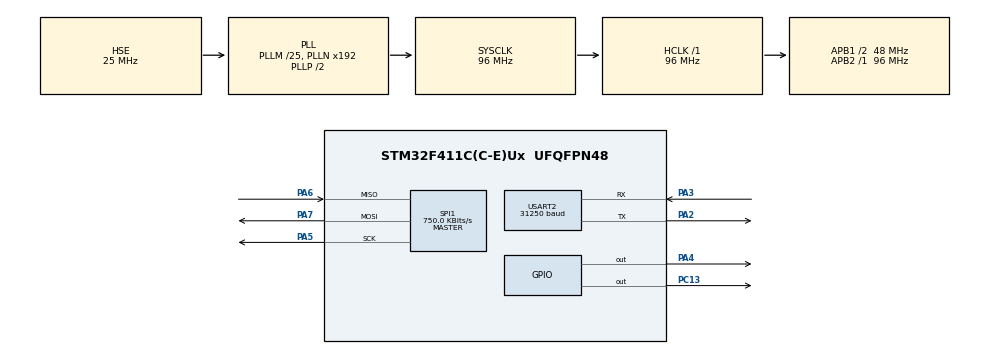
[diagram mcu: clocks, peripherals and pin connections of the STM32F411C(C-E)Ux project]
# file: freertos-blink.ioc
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Dma.Request0=SPI1_TX
Dma.SPI1_TX.0.Direction=DMA_MEMORY_TO_PERIPH
Dma.SPI1_TX.0.FIFOMode=DMA_FIFOMODE_DISABLE
Dma.SPI1_TX.0.Instance=DMA2_Stream2
Dma.SPI1_TX.0.MemDataAlignment=DMA_MDATAALIGN_BYTE
Dma.SPI1_TX.0.MemInc=DMA_MINC_ENABLE
Dma.SPI1_TX.0.Mode=DMA_NORMAL
Dma.SPI1_TX.0.PeriphDataAlignment=DMA_PDATAALIGN_BYTE
Dma.SPI1_TX.0.PeriphInc=DMA_PINC_DISABLE
Dma.SPI1_TX.0.Priority=DMA_PRIORITY_LOW
FREERTOS.Queues01=midi_queue,32,uint8_t,0,Static,midi_queueBuffer,midi_queueControlBlock;to_send_queue,16,uint32_t,0,Static,to_send_queueBuffer,to_send_queueControlBlock
FREERTOS.Tasks01=blink01,24,128,start_blink_01,Default,NULL,Dynamic,NULL,NULL;transmit_spi,8,128,transmit_spi_01,Default,NULL,Dynamic,NULL,NULL;process_midi,8,128,process_midi_from_queue,Default,NULL,Dynamic,NULL,NULL
FREERTOS.configENABLE_FPU=1
Mcu.Family=STM32F4
Mcu.Name=STM32F411C(C-E)Ux
Mcu.Package=UFQFPN48
NVIC.DMA2_Stream2_IRQn=true\:5\:0\:false\:false\:true\:true\:false\:true\:true
NVIC.PriorityGroup=NVIC_PRIORITYGROUP_4
NVIC.SPI1_IRQn=true\:5\:0\:false\:false\:true\:true\:true\:true\:true
NVIC.TIM1_TRG_COM_TIM11_IRQn=true\:15\:0\:false\:false\:true\:false\:false\:true\:true
NVIC.TimeBase=TIM1_TRG_COM_TIM11_IRQn
NVIC.TimeBaseIP=TIM11
NVIC.USART2_IRQn=true\:5\:0\:false\:false\:true\:true\:true\:true\:true
PA13.Mode=Serial_Wire
PA13.Signal=SYS_JTMS-SWDIO
PA14.Mode=Serial_Wire
PA14.Signal=SYS_JTCK-SWCLK
PA2.Mode=Asynchronous
PA2.Signal=USART2_TX
PA3.Mode=Asynchronous
PA3.Signal=USART2_RX
PA4.Signal=GPIO_Output
PA5.Mode=Full_Duplex_Master
PA5.Signal=SPI1_SCK
PA6.Mode=Full_Duplex_Master
PA6.Signal=SPI1_MISO
PA7.Mode=Full_Duplex_Master
PA7.Signal=SPI1_MOSI
PC13-ANTI_TAMP.Signal=GPIO_Output
PH0\ -\ OSC_IN.Mode=HSE-External-Oscillator
PH0\ -\ OSC_IN.Signal=RCC_OSC_IN
PH1\ -\ OSC_OUT.Mode=HSE-External-Oscillator
PH1\ -\ OSC_OUT.Signal=RCC_OSC_OUT
ProjectManager.HeapSize=0x200
ProjectManager.StackSize=0x400
ProjectManager.TargetToolchain=Makefile
RCC.48MHZClocksFreq_Value=48000000
RCC.AHBFreq_Value=96000000
RCC.APB1CLKDivider=RCC_HCLK_DIV2
RCC.APB1Freq_Value=48000000
RCC.APB1TimFreq_Value=96000000
RCC.APB2Freq_Value=96000000
RCC.APB2TimFreq_Value=96000000
RCC.CortexFreq_Value=96000000
RCC.HCLKFreq_Value=96000000
RCC.HSE_VALUE=25000000
RCC.HSI_VALUE=16000000
RCC.LSE_VALUE=32768
RCC.PLLM=25
RCC.PLLSourceVirtual=RCC_PLLSOURCE_HSE
RCC.SYSCLKFreq_VALUE=96000000
RCC.SYSCLKSource=RCC_SYSCLKSOURCE_PLLCLK
RCC.VCOOutputFreq_Value=192000000
SPI1.BaudRatePrescaler=SPI_BAUDRATEPRESCALER_128
SPI1.CalculateBaudRate=750.0 KBits/s
SPI1.Direction=SPI_DIRECTION_2LINES
SPI1.Mode=SPI_MODE_MASTER
SPI1.VirtualType=VM_MASTER
USART2.BaudRate=31250
USART2.Mode=MODE_RX
USART2.VirtualMode=VM_ASYNC
VP_FREERTOS_VS_CMSIS_V2.Mode=CMSIS_V2
VP_SYS_VS_tim11.Mode=TIM11
board=custom

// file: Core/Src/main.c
/* USER CODE BEGIN Header */
/**
  ******************************************************************************
  * @file           : main.c
  * @brief          : Main program body
  ******************************************************************************
  * @attention
  *
  * Copyright (c) 2026 STMicroelectronics.
  * All rights reserved.
  *
  * This software is licensed under terms that can be found in the LICENSE file
  * in the root directory of this software component.
  * If no LICENSE file comes with this software, it is provided AS-IS.
  *
  ******************************************************************************
  */
/* USER CODE END Header */
#include "main.h"
#include "cmsis_os.h"
#include "dma.h"
#include "spi.h"
#include "usart.h"
#include "gpio.h"

/* USER CODE BEGIN PV */
  uint8_t rx_buffer;
/* USER CODE END PV */

void SystemClock_Config(void);
void MX_FREERTOS_Init(void);

int main(void)
{

  /* MCU Configuration--------------------------------------------------------*/

  /* Reset of all peripherals, Initializes the Flash interface and the Systick. */
  HAL_Init();

  /* Configure the system clock */
  SystemClock_Config();

  /* Initialize all configured peripherals */
  MX_GPIO_Init();
  MX_DMA_Init();
  MX_USART2_UART_Init();
  MX_SPI1_Init();
  /* USER CODE BEGIN 2 */
  /* start receiving interrupts */
  HAL_UART_Receive_IT (&huart2, &rx_buffer, 1);

  /* USER CODE END 2 */

  /* Init scheduler */
  osKernelInitialize();  /* Call init function for freertos objects (in cmsis_os2.c) */
  MX_FREERTOS_Init();

  /* Start scheduler */
  osKernelStart();

  /* We should never get here as control is now taken by the scheduler */

  /* Infinite loop */
  while (1)
  {

  }
}

void SystemClock_Config(void)
{
  RCC_OscInitTypeDef RCC_OscInitStruct = {0};
  RCC_ClkInitTypeDef RCC_ClkInitStruct = {0};

  /** Configure the main internal regulator output voltage
  */
  __HAL_RCC_PWR_CLK_ENABLE();
  __HAL_PWR_VOLTAGESCALING_CONFIG(PWR_REGULATOR_VOLTAGE_SCALE1);

  /** Initializes the RCC Oscillators according to the specified parameters
  * in the RCC_OscInitTypeDef structure.
  */
  RCC_OscInitStruct.OscillatorType = RCC_OSCILLATORTYPE_HSE;
  RCC_OscInitStruct.HSEState = RCC_HSE_ON;
  RCC_OscInitStruct.PLL.PLLState = RCC_PLL_ON;
  RCC_OscInitStruct.PLL.PLLSource = RCC_PLLSOURCE_HSE;
  RCC_OscInitStruct.PLL.PLLM = 25;
  RCC_OscInitStruct.PLL.PLLN = 192;
  RCC_OscInitStruct.PLL.PLLP = RCC_PLLP_DIV2;
  RCC_OscInitStruct.PLL.PLLQ = 4;
  if (HAL_RCC_OscConfig(&RCC_OscInitStruct) != HAL_OK)
  {
    Error_Handler();
  }

  /** Initializes the CPU, AHB and APB buses clocks
  */
  RCC_ClkInitStruct.ClockType = RCC_CLOCKTYPE_HCLK|RCC_CLOCKTYPE_SYSCLK
                              |RCC_CLOCKTYPE_PCLK1|RCC_CLOCKTYPE_PCLK2;
  RCC_ClkInitStruct.SYSCLKSource = RCC_SYSCLKSOURCE_PLLCLK;
  RCC_ClkInitStruct.AHBCLKDivider = RCC_SYSCLK_DIV1;
  RCC_ClkInitStruct.APB1CLKDivider = RCC_HCLK_DIV2;
  RCC_ClkInitStruct.APB2CLKDivider = RCC_HCLK_DIV1;

  if (HAL_RCC_ClockConfig(&RCC_ClkInitStruct, FLASH_LATENCY_3) != HAL_OK)
  {
    Error_Handler();
  }
}

void HAL_TIM_PeriodElapsedCallback(TIM_HandleTypeDef *htim)
{
  if (htim->Instance == TIM11)
  {
    HAL_IncTick();
  }
}

void Error_Handler(void)
{
  __disable_irq();
  while (1)
  {
  }
}

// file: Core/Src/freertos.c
/* USER CODE BEGIN Header */
/**
  ******************************************************************************
  * File Name          : freertos.c
  * Description        : Code for freertos applications
  ******************************************************************************
  * @attention
  *
  * Copyright (c) 2026 STMicroelectronics.
  * All rights reserved.
  *
  * This software is licensed under terms that can be found in the LICENSE file
  * in the root directory of this software component.
  * If no LICENSE file comes with this software, it is provided AS-IS.
  *
  ******************************************************************************
  */
/* USER CODE END Header */

#include "FreeRTOS.h"
#include "task.h"
#include "main.h"
#include "cmsis_os.h"

/* USER CODE BEGIN Includes */
#include "midi.h"
/* USER CODE END Includes */

typedef StaticQueue_t osStaticMessageQDef_t;
/* USER CODE BEGIN PTD */

struct out_spi_msg_t{
  uint8_t packets[5];
  uint8_t target_osc;
  uint8_t msg_type;
};

volatile uint8_t note_pressed_recently = 0;
volatile uint8_t note_led_waiting = 0;

/* USER CODE END PTD */

/* USER CODE BEGIN Variables */
extern SPI_HandleTypeDef hspi1;

/* USER CODE END Variables */
/* Definitions for blink01 */
osThreadId_t blink01Handle;
const osThreadAttr_t blink01_attributes = {
  .name = "blink01",
  .stack_size = 128 * 4,
  .priority = (osPriority_t) osPriorityNormal,
};
/* Definitions for transmit_spi */
osThreadId_t transmit_spiHandle;
const osThreadAttr_t transmit_spi_attributes = {
  .name = "transmit_spi",
  .stack_size = 128 * 4,
  .priority = (osPriority_t) osPriorityLow,
};
/* Definitions for process_midi */
osThreadId_t process_midiHandle;
const osThreadAttr_t process_midi_attributes = {
  .name = "process_midi",
  .stack_size = 128 * 4,
  .priority = (osPriority_t) osPriorityLow,
};
/* Definitions for midi_queue */
osMessageQueueId_t midi_queueHandle;
uint8_t midi_queueBuffer[ 32 * sizeof( uint8_t ) ];
osStaticMessageQDef_t midi_queueControlBlock;
const osMessageQueueAttr_t midi_queue_attributes = {
  .name = "midi_queue",
  .cb_mem = &midi_queueControlBlock,
  .cb_size = sizeof(midi_queueControlBlock),
  .mq_mem = &midi_queueBuffer,
  .mq_size = sizeof(midi_queueBuffer)
};
/* Definitions for to_send_queue */
osMessageQueueId_t to_send_queueHandle;
uint8_t to_send_queueBuffer[ 16 * sizeof( fpga_msg_t ) ];
osStaticMessageQDef_t to_send_queueControlBlock;
const osMessageQueueAttr_t to_send_queue_attributes = {
  .name = "to_send_queue",
  .cb_mem = &to_send_queueControlBlock,
  .cb_size = sizeof(to_send_queueControlBlock),
  .mq_mem = &to_send_queueBuffer,
  .mq_size = sizeof(to_send_queueBuffer)
};

/* USER CODE BEGIN FunctionPrototypes */
static void assemble_spi_frames(fpga_msg_t* fpga_msg, uint8_t* frames);
/* USER CODE END FunctionPrototypes */

void start_blink_01(void *argument);
void transmit_spi_01(void *argument);
void process_midi_from_queue(void *argument);

void MX_FREERTOS_Init(void); /* (MISRA C 2004 rule 8.1) */

void MX_FREERTOS_Init(void) {

  /* Create the queue(s) */
  /* creation of midi_queue */
  midi_queueHandle = osMessageQueueNew (32, sizeof(uint8_t), &midi_queue_attributes);

  /* creation of to_send_queue */
  to_send_queueHandle = osMessageQueueNew (16, sizeof(fpga_msg_t), &to_send_queue_attributes);

  /* Create the thread(s) */
  /* creation of blink01 */
  blink01Handle = osThreadNew(start_blink_01, NULL, &blink01_attributes);

  /* creation of transmit_spi */
  transmit_spiHandle = osThreadNew(transmit_spi_01, NULL, &transmit_spi_attributes);

  /* creation of process_midi */
  process_midiHandle = osThreadNew(process_midi_from_queue, NULL, &process_midi_attributes);

}

void start_blink_01(void *argument)
{
  /* USER CODE BEGIN start_blink_01 */
  /* Infinite loop */
  for(;;)
  {
    if (note_pressed_recently){
      note_pressed_recently = 0;
      note_led_waiting = 1;
      HAL_GPIO_WritePin(GPIOC, GPIO_PIN_13, 0);
      osDelay(20);
      HAL_GPIO_WritePin(GPIOC, GPIO_PIN_13, 1);
      note_led_waiting = 1;
    }
    if (note_led_waiting == 0){
      HAL_GPIO_WritePin(GPIOC, GPIO_PIN_13, 1);
    }
    osDelay(1);
  }
  /* USER CODE END start_blink_01 */
}

void transmit_spi_01(void *argument)
{
  /* USER CODE BEGIN transmit_spi_01 */
  fpga_msg_t fpga_msg;
  uint8_t frames[5];

  /* Infinite loop */
  for(;;)
  {
    if (osMessageQueueGet(to_send_queueHandle, (void *)&fpga_msg, NULL, 10) == osOK) {

      /* Prepare message to be transmitted */
      assemble_spi_frames(&fpga_msg, frames);

      /* Pull CS line low*/
      HAL_GPIO_WritePin(GPIOA, GPIO_PIN_4, 0);

      /* Transmit SPI with DMA */
      HAL_SPI_Transmit_DMA(&hspi1, frames, 5);

      /* Notify with led */
      note_pressed_recently = 1;
    }
  }
  /* USER CODE END transmit_spi_01 */
}

void process_midi_from_queue(void *argument)
{
  /* USER CODE BEGIN process_midi_from_queue */
  uint8_t rcv_msg = 0;

  /* Infinite loop */
  for(;;)
  {
    if (osMessageQueueGet(midi_queueHandle, (void *)&rcv_msg, NULL, 10) == osOK) {
      process_midi(rcv_msg);
    }
  }
  /* USER CODE END process_midi_from_queue */
}

/* USER CODE BEGIN Application */
static void assemble_spi_frames(fpga_msg_t* fpga_msg, uint8_t* frames)
{
  frames[0] = 0x00 | (fpga_msg->msg_type << 5) | (fpga_msg->target_osc);

  /* Shift out uint32_t by 8 bit frames MSB first */
  for (int i = 0; i < 4; i++){
    frames[i + 1] = (fpga_msg->data >> (8 * (3 - i))) & 0xFF;
  }
}
/* USER CODE END Application */
